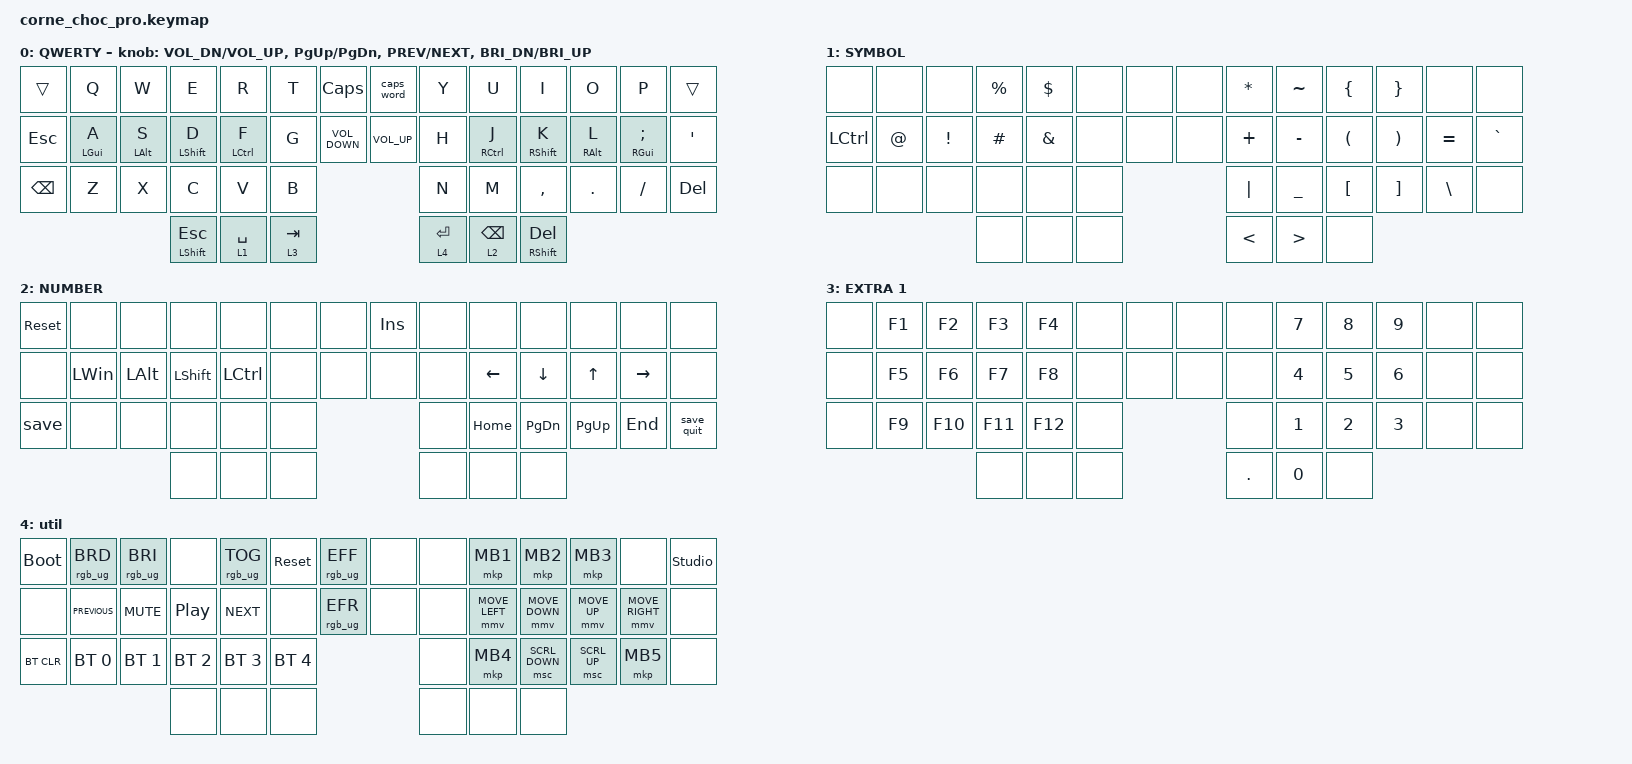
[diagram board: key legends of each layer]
/*
 * Copyright (c) 2020 The ZMK Contributors
 *
 * SPDX-License-Identifier: MIT
 */

#include <behaviors.dtsi>
#include <dt-bindings/zmk/bt.h>
#include <dt-bindings/zmk/keys.h>
#include <dt-bindings/zmk/pointing.h>
#include <dt-bindings/zmk/rgb.h>

/ {
    chosen { zmk,physical-layout = &default_layout; };
};

/ {
    combos {
        compatible = "zmk,combos";

        keep_deleting {
            bindings = <&kp BACKSPACE>;
            key-positions = <44 45>;
        };
    };

    behaviors {
        hml: hml {
            compatible = "zmk,behavior-hold-tap";
            label = "HML";
            bindings = <&kp>, <&kp>;

            #binding-cells = <2>;
            tapping-term-ms = <280>;
            quick-tap-ms = <175>;
            require-prior-idle-ms = <150>;
            flavor = "balanced";
            hold-trigger-on-release;
            hold-trigger-key-positions = <7 8 9 10 11 12 13 21 22 23 24 25 26 27 34 35 36 37 38 39 43 44 45 40 41 42>;
        };

        hmr: hmr {
            compatible = "zmk,behavior-hold-tap";
            label = "HMR";
            bindings = <&kp>, <&kp>;

            #binding-cells = <2>;
            tapping-term-ms = <280>;
            quick-tap-ms = <175>;
            require-prior-idle-ms = <150>;
            flavor = "balanced";
            hold-trigger-on-release;
            hold-trigger-key-positions = <0 1 2 3 4 5 6 14 15 16 17 18 19 20 28 29 30 31 32 33 40 41 42 43 44 45>;
        };
    };

    macros {
        save_quit: save_quit {
            compatible = "zmk,behavior-macro";
            #binding-cells = <0>;
            bindings = <&kp COLON &kp W &kp Q &kp ENTER>;
            label = "SAVE_QUIT";
        };

        save: save {
            compatible = "zmk,behavior-macro";
            #binding-cells = <0>;
            bindings = <&kp COLON &kp W &kp ENTER>;
            label = "SAVE";
        };
    };

    keymap {
        compatible = "zmk,keymap";

        base {
            display-name = "QWERTY";

            // --------------------------------------------------------------------------------
            // |  TAB |  Q  |  W  |  E  |  R  |  T  |  MUTE |  PP   |  Y  |  U   |  I  |  O  |  P  | BSPC |
            // | CTRL |  A  |  S  |  D  |  F  |  G  |  LALT |  RALT |  H  |  J   |  K  |  L  |  ;  |  '   |
            // | SHFT |  Z  |  X  |  C  |  V  |  B  |               |  N  |  M   |  ,  |  .  |  /  | ESC  |
            //                    | GUI | LWR | SPC |               | ENT | RSE  | ALT |

            bindings = <
&trans         &kp Q            &kp W            &kp E                  &kp R         &kp T      &kp CAPSLOCK       &caps_word       &kp Y        &kp U            &kp I                   &kp O             &kp P                &trans
&kp ESCAPE     &hml LEFT_GUI A  &hml LEFT_ALT S  &hml LEFT_SHIFT D      &hml LCTRL F  &kp G      &kp C_VOLUME_DOWN  &kp C_VOLUME_UP  &kp H        &hmr RCTRL J     &hmr RSHIFT K           &hmr RIGHT_ALT L  &hmr RIGHT_GUI SEMI  &kp SQT
&kp BACKSPACE  &kp Z            &kp X            &kp C                  &kp V         &kp B                                          &kp N        &kp M            &kp COMMA               &kp DOT           &kp FSLH             &kp DEL
                                                 &mt LEFT_SHIFT ESCAPE  &lt 1 SPACE   &lt 3 TAB                                      &lt 4 ENTER  &lt 2 BACKSPACE  &mt RIGHT_SHIFT DELETE
            >;

            sensor-bindings = <&inc_dec_kp C_VOL_DN C_VOL_UP &inc_dec_kp PG_UP PG_DN &inc_dec_kp C_PREV C_NEXT &inc_dec_kp C_BRI_DN C_BRI_UP>;
        };

        sym {
            display-name = "SYMBOL";

            // -----------------------------------------------------------------------------------------
            // |  TAB |  !  |  @  |  #  |  $  |  %  | LCTRL | RCTRL |  ^  |  &  |  *  |  (  |  )  | BSPC |
            // | CTRL |     |     |     |     |     |  LALT | RALT  |  -  |  =  |  [  |  ]  |  \  |  `   |
            // | SHFT |     |     |     |     |     |               |  _  |  +  |  {  |  }  | "|" |  ~   |
            //                    | GUI |     | SPC |               | ENT |     | ALT |

            bindings = <
&none      &none   &none     &kp PERCENT  &kp DLLR       &none  &none  &none  &kp STAR       &kp TILDE         &kp LBRC  &kp RBRC  &none          &none
&kp LCTRL  &kp AT  &kp EXCL  &kp HASH     &kp AMPERSAND  &none  &none  &none  &kp PLUS       &kp MINUS         &kp LPAR  &kp RPAR  &kp EQUAL      &kp GRAVE
&none      &none   &none     &none        &none          &none                &kp PIPE       &kp UNDER         &kp LBKT  &kp RBKT  &kp BACKSLASH  &none
                             &none        &none          &none                &kp LESS_THAN  &kp GREATER_THAN  &none
            >;
        };

        nav {
            display-name = "NUMBER";

            // -----------------------------------------------------------------------------------------
            // |  TAB |  1  |  2  |  3  |  4  |  5    |  LCTRL | RCTRL |  6  |  7  |  8  |  9  |  0  | BSPC |
            // | CTRL | BT1 | BT2 | BT3 | BT4 | BT5   |  LALT  | RALT  | LFT | DWN |  UP | RGT |     |      |
            // | SHFT | BTCR| RGB | RST | BOOT| Unlock|        |       |     |     |     |     |     |      |
            //                    | GUI |     | SPC   |        | ENT   |     | ALT |

            bindings = <
&sys_reset  &none         &none         &none           &none             &none  &none  &kp INSERT  &none  &none     &none          &none        &none      &none
&none       &kp LEFT_WIN  &kp LEFT_ALT  &kp LEFT_SHIFT  &kp LEFT_CONTROL  &none  &none  &none       &none  &kp LEFT  &kp DOWN       &kp UP       &kp RIGHT  &none
&save       &none         &none         &none           &none             &none                     &none  &kp HOME  &kp PAGE_DOWN  &kp PAGE_UP  &kp END    &save_quit
                                        &none           &none             &none                     &none  &none     &none
            >;
        };

        num {
            display-name = "EXTRA 1";
            bindings = <
&none  &kp F1  &kp F2   &kp F3   &kp F4   &none  &none  &none  &none    &kp N7  &kp N8  &kp N9  &none  &none
&none  &kp F5  &kp F6   &kp F7   &kp F8   &none  &none  &none  &none    &kp N4  &kp N5  &kp N6  &none  &none
&none  &kp F9  &kp F10  &kp F11  &kp F12  &none                &none    &kp N1  &kp N2  &kp N3  &none  &none
                        &none    &none    &none                &kp DOT  &kp N0  &none
            >;
        };

        util {
            bindings = <
&bootloader  &rgb_ug RGB_BRD  &rgb_ug RGB_BRI  &none             &rgb_ug RGB_TOG  &sys_reset    &rgb_ug RGB_EFF  &none  &none  &mkp MB1        &mkp MB2        &mkp MB3      &none            &studio_unlock
&none        &kp C_PREVIOUS   &kp C_MUTE       &kp C_PLAY_PAUSE  &kp C_NEXT       &none         &rgb_ug RGB_EFR  &none  &none  &mmv MOVE_LEFT  &mmv MOVE_DOWN  &mmv MOVE_UP  &mmv MOVE_RIGHT  &none
&bt BT_CLR   &bt BT_SEL 0     &bt BT_SEL 1     &bt BT_SEL 2      &bt BT_SEL 3     &bt BT_SEL 4                          &none  &mkp MB4        &msc SCRL_DOWN  &msc SCRL_UP  &mkp MB5         &none
                                               &none             &none            &none                                 &none  &none           &none
            >;
        };
    };
};
